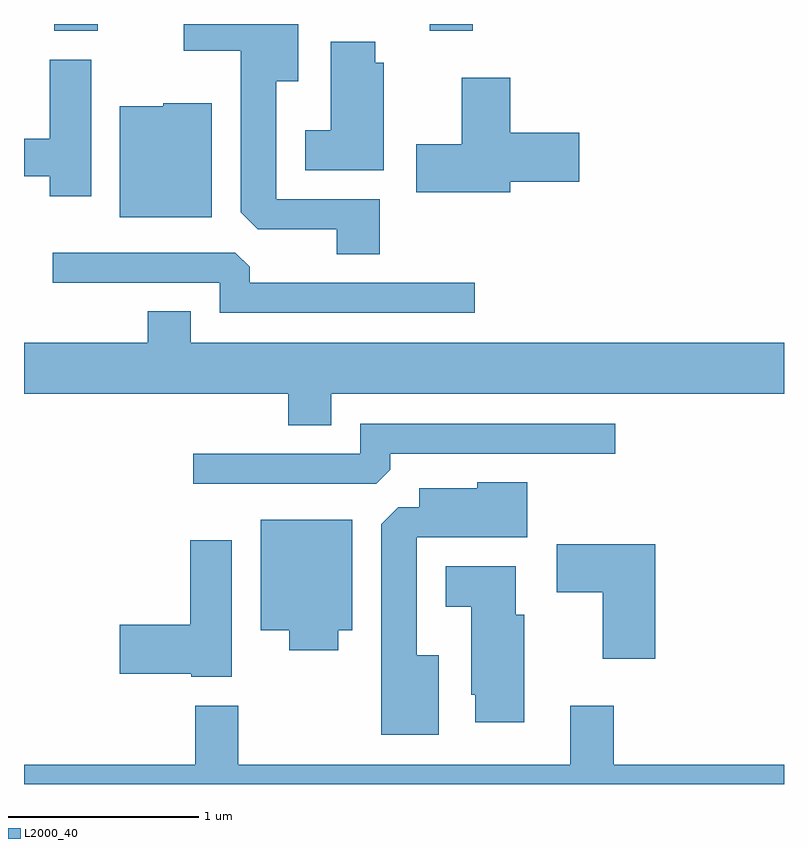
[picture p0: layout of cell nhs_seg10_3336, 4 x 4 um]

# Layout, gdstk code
import gdstk
lib = gdstk.Library(unit=1e-6, precision=1e-09)
def R(c, l, rs):  # rectangles x0, y0, x1, y1
    for r in rs: c.add(gdstk.rectangle(r[:2], r[2:], *l))
def P(c, l, *ps):  # polygons
    for p in ps: c.add(gdstk.Polygon(p, *l))
L2000_40 = (2000, 40)

nhs_seg10_3336 = lib.new_cell('nhs_seg10_3336')
R(nhs_seg10_3336, L2000_40, [(283.771,2122.486,283.999,2122.522), (285.746,2122.486,285.974,2122.522)])
P(nhs_seg10_3336, L2000_40, [(285.484,2121.599),(284.939,2121.599),(284.939,2122.221),(285.054,2122.221),(285.054,2122.522),(284.451,2122.522),(284.451,2122.381),(284.751,2122.381),(284.751,2121.532),(284.842,2121.441),(285.256,2121.441),(285.256,2121.311),(285.484,2121.311)],
  [(285.504,2122.319),(285.459,2122.319),(285.459,2122.429),(285.226,2122.429),(285.226,2121.964),(285.091,2121.964),(285.091,2121.751),(285.504,2121.751)],
  [(283.964,2122.334),(283.746,2122.334),(283.746,2121.919),(283.611,2121.919),(283.611,2121.721),(283.746,2121.721),(283.746,2121.616),(283.964,2121.616)],
  [(286.169,2121.691),(286.534,2121.691),(286.534,2121.949),(286.169,2121.949),(286.169,2122.239),(285.916,2122.239),(285.916,2121.889),(285.676,2121.889),(285.676,2121.636),(286.169,2121.636)],
  [(284.599,2122.104),(284.345,2122.104),(284.345,2122.089),(284.116,2122.089),(284.116,2121.506),(284.599,2121.506)],
  [(285.983,2121.159),(284.799,2121.159),(284.799,2121.244),(284.724,2121.319),(283.763,2121.319),(283.763,2121.161),(284.641,2121.161),(284.641,2121.001),(285.983,2121.001)],
  [(285.229,2120.576),(287.611,2120.576),(287.611,2120.844),(284.489,2120.844),(284.489,2121.009),(284.261,2121.009),(284.261,2120.844),(283.611,2120.844),(283.611,2120.576),(285.001,2120.576),(285.001,2120.411),(285.229,2120.411)],
  [(285.539,2120.177),(285.539,2120.261),(286.723,2120.261),(286.723,2120.419),(285.381,2120.419),(285.381,2120.259),(284.503,2120.259),(284.503,2120.101),(285.464,2120.101)],
  [(285.794,2119.199),(285.679,2119.199),(285.679,2119.821),(286.259,2119.821),(286.259,2120.109),(285.996,2120.109),(285.996,2120.079),(285.691,2120.079),(285.691,2119.979),(285.582,2119.979),(285.491,2119.889),(285.491,2118.781),(285.794,2118.781)],
  [(285.264,2119.331),(285.339,2119.331),(285.339,2119.914),(284.856,2119.914),(284.856,2119.331),(285.006,2119.331),(285.006,2119.226),(285.264,2119.226)],
  [(284.704,2119.804),(284.486,2119.804),(284.486,2119.359),(284.116,2119.359),(284.116,2119.101),(284.49,2119.101),(284.49,2119.086),(284.704,2119.086)],
  [(286.934,2119.784),(286.416,2119.784),(286.416,2119.531),(286.656,2119.531),(286.656,2119.181),(286.934,2119.181)],
  [(286.244,2119.414),(286.199,2119.414),(286.199,2119.669),(285.831,2119.669),(285.831,2119.456),(285.966,2119.456),(285.966,2118.991),(285.986,2118.991),(285.986,2118.846),(286.244,2118.846)],
  [(287.611,2118.624),(286.714,2118.624),(286.714,2118.934),(286.486,2118.934),(286.486,2118.624),(284.739,2118.624),(284.739,2118.934),(284.511,2118.934),(284.511,2118.624),(283.611,2118.624),(283.611,2118.522),(287.611,2118.522)])

lib.write_gds('nhs_seg10_3336.gds')
